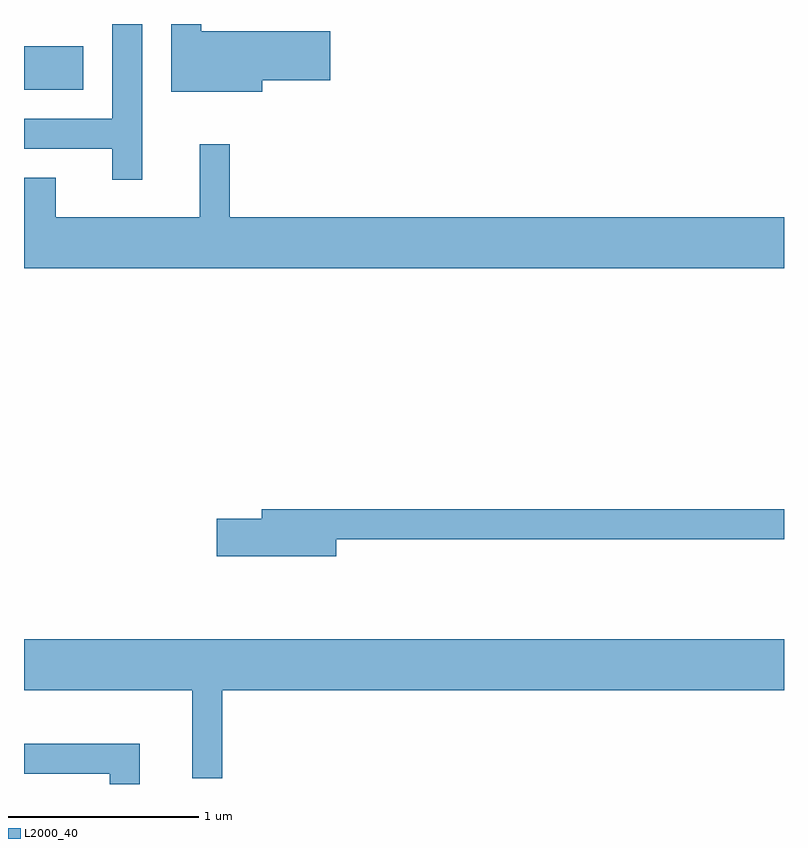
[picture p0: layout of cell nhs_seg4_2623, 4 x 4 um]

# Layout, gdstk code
import gdstk
lib = gdstk.Library(unit=1e-6, precision=1e-09)
def R(c, l, rs):  # rectangles x0, y0, x1, y1
    for r in rs: c.add(gdstk.rectangle(r[:2], r[2:], *l))
def P(c, l, *ps):  # polygons
    for p in ps: c.add(gdstk.Polygon(p, *l))
L2000_40 = (2000, 40)

nhs_seg4_2623 = lib.new_cell('nhs_seg4_2623')
R(nhs_seg4_2623, L2000_40, [(261.611,1335.636,261.924,1335.864)])
P(nhs_seg4_2623, L2000_40, [(262.234,1335.982),(262.076,1335.982),(262.076,1335.484),(261.611,1335.484),(261.611,1335.326),(262.076,1335.326),(262.076,1335.163),(262.234,1335.163)],
  [(262.864,1335.686),(263.224,1335.686),(263.224,1335.944),(262.544,1335.944),(262.544,1335.982),(262.386,1335.982),(262.386,1335.626),(262.864,1335.626)],
  [(265.611,1334.964),(262.694,1334.964),(262.694,1335.348),(262.536,1335.348),(262.536,1334.964),(261.779,1334.964),(261.779,1335.174),(261.611,1335.174),(261.611,1334.696),(265.611,1334.696)],
  [(263.254,1333.271),(265.611,1333.271),(265.611,1333.429),(262.861,1333.429),(262.861,1333.379),(262.626,1333.379),(262.626,1333.181),(263.254,1333.181)],
  [(262.654,1332.476),(265.611,1332.476),(265.611,1332.744),(261.611,1332.744),(261.611,1332.476),(262.496,1332.476),(262.496,1332.013),(262.654,1332.013)],
  [(262.219,1332.194),(261.611,1332.194),(261.611,1332.036),(262.061,1332.036),(262.061,1331.982),(262.219,1331.982)])

lib.write_gds('nhs_seg4_2623.gds')
